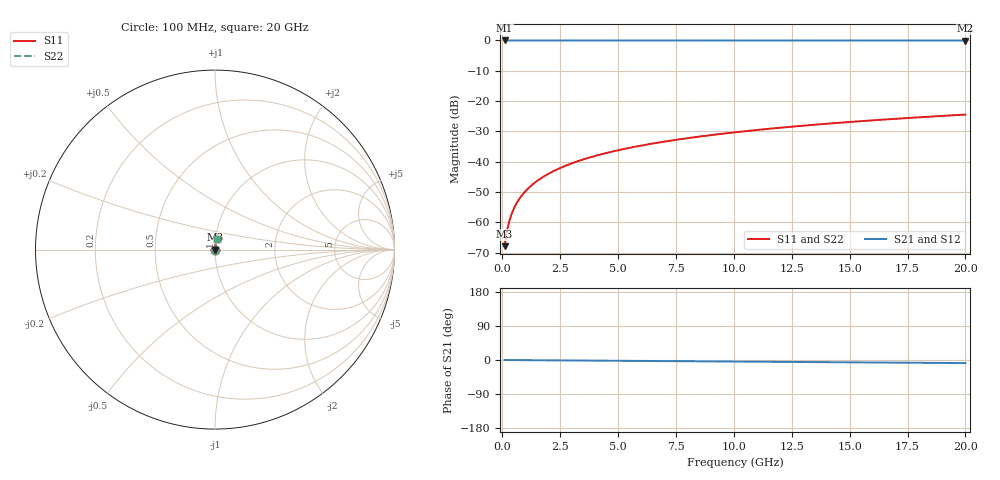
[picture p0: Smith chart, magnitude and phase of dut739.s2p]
! Touchstone file exported from HFSS 2026.1.0
!  File:  C:/ffzhzh/LocalFiles/Ansys_Project_Files/temp_train_TSV_739_1783182767_43440.aedt
!  Generated:  12:34:40 AM Jul  5, 2026
!  Design:  TSV
!  Project:  temp_train_TSV_739_1783182767_43440
! Variables:
!  h_bsmrdl = 2um
!  h_ox = 20um
!  h_rdl = 5um
!  h_sub = 69.97um
!  h_tmrdl = 5um
!  h_tsv = 69.97um
!  h_via = 3um
!  l_bsmrdl = 300um
!  l_sub = 413.04um
!  l_tmrdl = 200um
!  m_sub = 200um
!  pitch = 48.4um
!  r_tsv = 6.52um
!  s_tmrdl = 10um
!  w_bsmrdl = 18um
!  w_sub = 500um
!  w_tmrdl = 12um
!  x_tsv_center1 = 206um
!  x_tsv_center2 = 524um
!  x_tsv_center3 = 736um
!  x_tsv_center4 = 1054um
!  x_tsv_center5 = 1266um
!  x_tsv_center6 = 1584um
# GHz S MA R 50.000000
! Terminal data exported
! Port[1] = TSV1_1_T1
! Port[2] = TSV1_1_T2
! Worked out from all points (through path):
!   200 points, 100 MHz to 20 GHz, reference 50 ohm
!   highest |S21| = 0.00 dB at 100 MHz (marker M1); lowest = 0.0 dB at 20 GHz (marker M2)
!   group delay of S21, straight-line fit = 1.13 ps
!   lowest |S11| = -67.8 dB at 100 MHz (marker M3), VSWR 1.00, Z = 50 + j0.034 ohm
!   |S11| at or under -10 dB: start of sweep to end of sweep
!   |S22| runs from -67.8 to -24.4 dB; largest |S21 - S12| = 6.2e-15
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0.1  0.0004067 56.7  0.9998 -0.0  0.9998 -0.0  0.0004067 56.7
! Gamma 0 0 0 0
! Port Impedance 50 0 50 0
0.2  0.0007171 71.1  0.9998 -0.1  0.9998 -0.1  0.0007171 71.1
0.3  0.001043 76.3  0.9998 -0.1  0.9998 -0.1  0.001043 76.3
0.4  0.00137 78.8  0.9997 -0.2  0.9997 -0.2  0.00137 78.8
0.5  0.001695 80.2  0.9997 -0.2  0.9997 -0.2  0.001695 80.2
0.6  0.002017 81.2  0.9997 -0.3  0.9997 -0.3  0.002017 81.2
0.7  0.002336 81.8  0.9997 -0.3  0.9997 -0.3  0.002336 81.8
0.8  0.002652 82.3  0.9997 -0.3  0.9997 -0.3  0.002652 82.3
1  0.003279 83.0  0.9996 -0.4  0.9996 -0.4  0.003279 83.0
1.4  0.004517 84.0  0.9996 -0.6  0.9996 -0.6  0.004517 84.0
1.7  0.005441 84.4  0.9995 -0.7  0.9995 -0.7  0.005441 84.4
2  0.006363 84.7  0.9995 -0.8  0.9995 -0.8  0.006363 84.7
2.7  0.00851 85.1  0.9994 -1.1  0.9994 -1.1  0.00851 85.1
3.5  0.01095 85.2  0.9993 -1.5  0.9993 -1.5  0.01095 85.2
4.2  0.01308 85.2  0.9992 -1.7  0.9992 -1.7  0.01308 85.2
5  0.0155 85.1  0.9991 -2.1  0.9991 -2.1  0.0155 85.1
6.8  0.02092 84.7  0.9989 -2.8  0.9989 -2.8  0.02092 84.7
8.3  0.02541 84.3  0.9987 -3.4  0.9987 -3.4  0.02541 84.3
10.1  0.03078 83.8  0.9984 -4.2  0.9984 -4.2  0.03078 83.8
13.4  0.04058 82.7  0.9979 -5.5  0.9979 -5.5  0.04058 82.7
16.7  0.05033 81.6  0.9973 -6.8  0.9973 -6.8  0.05033 81.6
20  0.06 80.3  0.9967 -8.2  0.9967 -8.2  0.06 80.3
